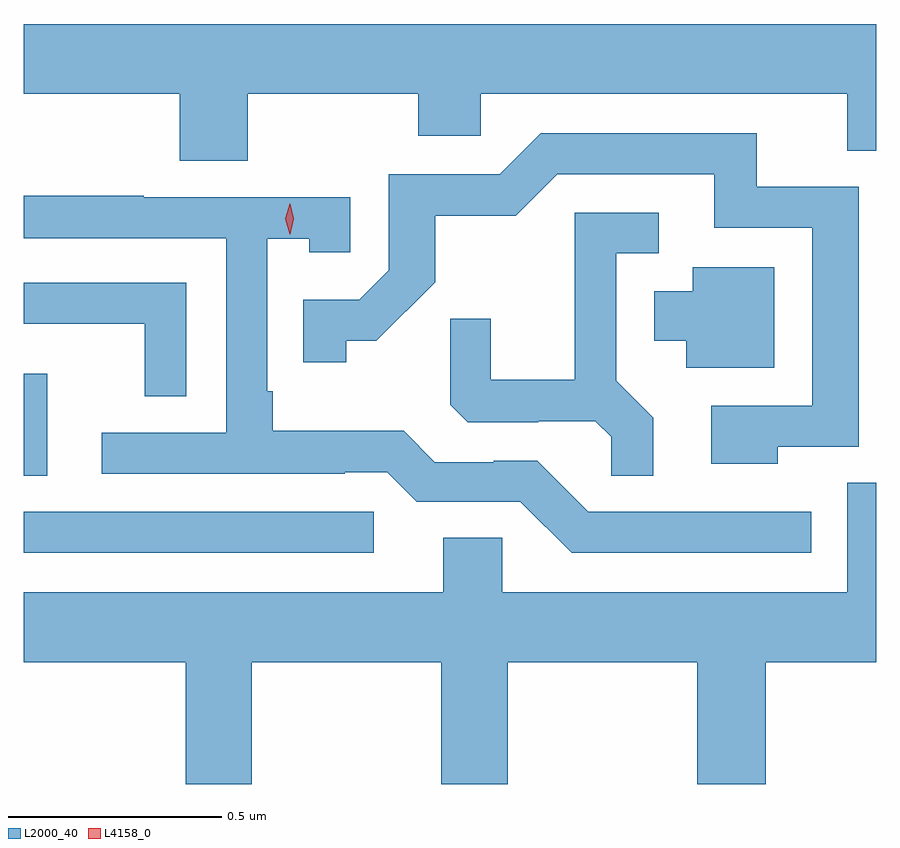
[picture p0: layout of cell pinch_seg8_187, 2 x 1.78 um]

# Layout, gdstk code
import gdstk
lib = gdstk.Library(unit=1e-6, precision=1e-09)
def R(c, l, rs):  # rectangles x0, y0, x1, y1
    for r in rs: c.add(gdstk.rectangle(r[:2], r[2:], *l))
def P(c, l, *ps):  # polygons
    for p in ps: c.add(gdstk.Polygon(p, *l))
L2000_40 = (2000, 40)
L4158_0 = (4158, 0)

pinch_seg8_187 = lib.new_cell('pinch_seg8_187')
R(pinch_seg8_187, L2000_40, [(661.715,1156.716,662.536,1156.812), (661.715,1156.897,661.771,1157.136)])
P(pinch_seg8_187, L2000_40, [(662.241,1157.792),(662.641,1157.792),(662.641,1157.694),(662.787,1157.694),(662.787,1157.792),(663.647,1157.792),(663.647,1157.659),(663.715,1157.659),(663.715,1157.956),(661.715,1157.956),(661.715,1157.792),(662.081,1157.792),(662.081,1157.635),(662.241,1157.635)],
  [(663.483,1156.965),(663.673,1156.965),(663.673,1157.574),(663.434,1157.574),(663.434,1157.7),(662.928,1157.7),(662.832,1157.604),(662.571,1157.604),(662.571,1157.379),(662.502,1157.31),(662.371,1157.31),(662.371,1157.163),(662.472,1157.163),(662.472,1157.213),(662.542,1157.213),(662.68,1157.35),(662.68,1157.506),(662.869,1157.506),(662.967,1157.604),(663.335,1157.604),(663.335,1157.478),(663.564,1157.478),(663.564,1157.061),(663.327,1157.061),(663.327,1156.925),(663.483,1156.925)],
  [(663.562,1156.812),(663.039,1156.812),(662.919,1156.932),(662.818,1156.932),(662.818,1156.929),(662.679,1156.929),(662.606,1157.002),(662.299,1157.002),(662.299,1157.095),(662.286,1157.095),(662.286,1157.453),(662.385,1157.453),(662.385,1157.421),(662.481,1157.421),(662.481,1157.55),(661.997,1157.55),(661.997,1157.553),(661.715,1157.553),(661.715,1157.454),(662.19,1157.454),(662.19,1156.998),(661.899,1156.998),(661.899,1156.902),(662.468,1156.902),(662.468,1156.905),(662.568,1156.905),(662.637,1156.836),(662.88,1156.836),(663,1156.716),(663.562,1156.716)],
  [(663.191,1157.033),(663.105,1157.119),(663.105,1157.418),(663.205,1157.418),(663.205,1157.514),(663.008,1157.514),(663.008,1157.122),(662.81,1157.122),(662.81,1157.265),(662.716,1157.265),(662.716,1157.063),(662.757,1157.022),(662.922,1157.022),(662.922,1157.025),(663.056,1157.025),(663.093,1156.988),(663.093,1156.897),(663.191,1156.897)],
  [(663.475,1157.386),(663.284,1157.386),(663.284,1157.329),(663.194,1157.329),(663.194,1157.213),(663.269,1157.213),(663.269,1157.15),(663.475,1157.15)],
  [(662.097,1157.349),(661.715,1157.349),(661.715,1157.253),(661.999,1157.253),(661.999,1157.083),(662.097,1157.083)],
  [(662.25,1156.46),(662.695,1156.46),(662.695,1156.174),(662.85,1156.174),(662.85,1156.46),(663.295,1156.46),(663.295,1156.174),(663.455,1156.174),(663.455,1156.46),(663.715,1156.46),(663.715,1156.88),(663.647,1156.88),(663.647,1156.624),(662.838,1156.624),(662.838,1156.751),(662.699,1156.751),(662.699,1156.624),(661.715,1156.624),(661.715,1156.46),(662.095,1156.46),(662.095,1156.174),(662.25,1156.174)])
P(pinch_seg8_187, L4158_0, [(662.339,1157.463),(662.339,1157.463),(662.329,1157.499),(662.339,1157.535),(662.339,1157.535),(662.34,1157.535),(662.349,1157.499),(662.34,1157.463)])

lib.write_gds('pinch_seg8_187.gds')
